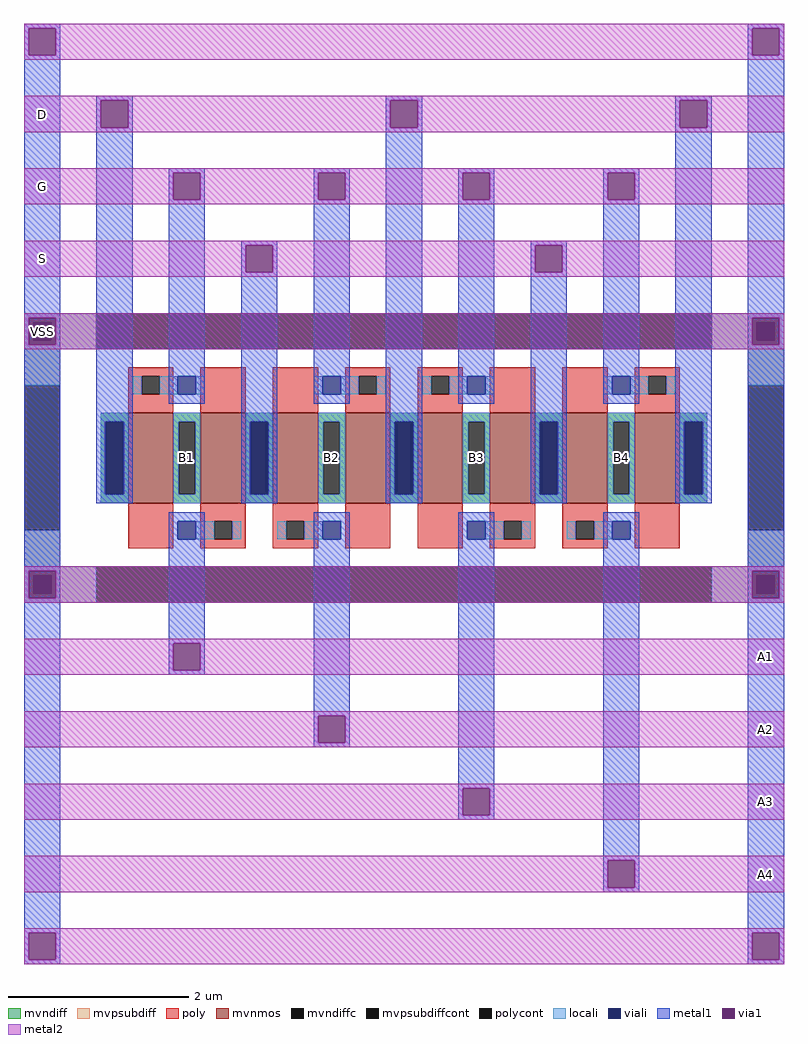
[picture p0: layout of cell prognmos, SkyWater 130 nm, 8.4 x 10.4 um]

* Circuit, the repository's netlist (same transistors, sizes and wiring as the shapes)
* NGSPICE file created from prognmos.ext - technology: sky130A

.subckt prognmos D G S VSS A1 A2 A3 A4
X0 S A1 B1 VSS sky130_fd_pr__nfet_g5v0d10v5 ad=1.5e+11p pd=1.3e+06u as=1.5e+11p ps=1.3e+06u w=1e+06u l=500000u
X1 B3 G D VSS sky130_fd_pr__nfet_g5v0d10v5 ad=1.5e+11p pd=1.3e+06u as=2.25e+11p ps=1.95e+06u w=1e+06u l=500000u
X2 B1 G D VSS sky130_fd_pr__nfet_g5v0d10v5 ad=1.5e+11p pd=1.3e+06u as=2.25e+11p ps=1.95e+06u w=1e+06u l=500000u
X3 B2 A2 S VSS sky130_fd_pr__nfet_g5v0d10v5 ad=1.5e+11p pd=1.3e+06u as=1.5e+11p ps=1.3e+06u w=1e+06u l=500000u
X4 D G B4 VSS sky130_fd_pr__nfet_g5v0d10v5 ad=2.25e+11p pd=1.95e+06u as=1.5e+11p ps=1.3e+06u w=1e+06u l=500000u
X5 S A3 B3 VSS sky130_fd_pr__nfet_g5v0d10v5 ad=1.5e+11p pd=1.3e+06u as=1.5e+11p ps=1.3e+06u w=1e+06u l=500000u
X6 D G B2 VSS sky130_fd_pr__nfet_g5v0d10v5 ad=2.25e+11p pd=1.95e+06u as=1.5e+11p ps=1.3e+06u w=1e+06u l=500000u
X7 B4 A4 S VSS sky130_fd_pr__nfet_g5v0d10v5 ad=1.5e+11p pd=1.3e+06u as=1.5e+11p ps=1.3e+06u w=1e+06u l=500000u
.ends

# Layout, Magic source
magic
tech sky130A
<< mvnmos >>
rect -5 -10 45 90
rect 75 -10 125 90
rect 155 -10 205 90
rect 235 -10 285 90
rect 315 -10 365 90
rect 395 -10 445 90
rect 475 -10 525 90
rect 555 -10 605 90
<< mvndiff >>
rect -35 80 -5 90
rect -35 0 -29 80
rect -11 0 -5 80
rect -35 -10 -5 0
rect 45 80 75 90
rect 45 0 51 80
rect 69 0 75 80
rect 45 -10 75 0
rect 125 80 155 90
rect 125 0 131 80
rect 149 0 155 80
rect 125 -10 155 0
rect 205 80 235 90
rect 205 0 211 80
rect 229 0 235 80
rect 205 -10 235 0
rect 285 80 315 90
rect 285 0 291 80
rect 309 0 315 80
rect 285 -10 315 0
rect 365 80 395 90
rect 365 0 371 80
rect 389 0 395 80
rect 365 -10 395 0
rect 445 80 475 90
rect 445 0 451 80
rect 469 0 475 80
rect 445 -10 475 0
rect 525 80 555 90
rect 525 0 531 80
rect 549 0 555 80
rect 525 -10 555 0
rect 605 80 635 90
rect 605 0 611 80
rect 629 0 635 80
rect 605 -10 635 0
<< mvndiffc >>
rect -29 0 -11 80
rect 51 0 69 80
rect 131 0 149 80
rect 211 0 229 80
rect 291 0 309 80
rect 371 0 389 80
rect 451 0 469 80
rect 531 0 549 80
rect 611 0 629 80
<< mvpsubdiff >>
rect -120 160 -40 200
rect 640 160 720 200
rect -120 120 -80 160
rect 680 120 720 160
rect -120 -80 -80 -40
rect 680 -80 720 -40
rect -120 -120 -40 -80
rect 640 -120 720 -80
<< mvpsubdiffcont >>
rect -40 160 640 200
rect -120 -40 -80 120
rect 680 -40 720 120
rect -40 -120 640 -80
<< poly >>
rect -5 130 45 140
rect -5 110 10 130
rect 30 110 45 130
rect -5 90 45 110
rect 75 90 125 140
rect 155 90 205 140
rect 235 130 285 140
rect 235 110 250 130
rect 270 110 285 130
rect 235 90 285 110
rect 315 130 365 140
rect 315 110 330 130
rect 350 110 365 130
rect 315 90 365 110
rect 395 90 445 140
rect 475 90 525 140
rect 555 130 605 140
rect 555 110 570 130
rect 590 110 605 130
rect 555 90 605 110
rect -5 -60 45 -10
rect 75 -30 125 -10
rect 75 -50 90 -30
rect 110 -50 125 -30
rect 75 -60 125 -50
rect 155 -30 205 -10
rect 155 -50 170 -30
rect 190 -50 205 -30
rect 155 -60 205 -50
rect 235 -60 285 -10
rect 315 -60 365 -10
rect 395 -30 445 -10
rect 395 -50 410 -30
rect 430 -50 445 -30
rect 395 -60 445 -50
rect 475 -30 525 -10
rect 475 -50 490 -30
rect 510 -50 525 -30
rect 475 -60 525 -50
rect 555 -60 605 -10
<< polycont >>
rect 10 110 30 130
rect 250 110 270 130
rect 330 110 350 130
rect 570 110 590 130
rect 90 -50 110 -30
rect 170 -50 190 -30
rect 410 -50 430 -30
rect 490 -50 510 -30
<< locali >>
rect -120 190 -40 200
rect -120 170 -110 190
rect -90 170 -40 190
rect -120 160 -40 170
rect 640 190 720 200
rect 640 170 690 190
rect 710 170 720 190
rect 640 160 720 170
rect -120 120 -80 160
rect 0 110 10 130
rect 30 110 50 130
rect 70 110 80 130
rect 200 110 210 130
rect 230 110 250 130
rect 270 110 280 130
rect 320 110 330 130
rect 350 110 370 130
rect 390 110 400 130
rect 520 110 530 130
rect 550 110 570 130
rect 590 110 600 130
rect 680 120 720 160
rect -35 80 -5 90
rect -35 0 -30 80
rect -10 0 -5 80
rect -35 -10 -5 0
rect 45 80 75 90
rect 45 0 51 80
rect 69 0 75 80
rect 45 -10 75 0
rect 125 80 155 90
rect 125 0 130 80
rect 150 0 155 80
rect 125 -10 155 0
rect 205 80 235 90
rect 205 0 211 80
rect 229 0 235 80
rect 205 -10 235 0
rect 285 80 315 90
rect 285 0 290 80
rect 310 0 315 80
rect 285 -10 315 0
rect 365 80 395 90
rect 365 0 371 80
rect 389 0 395 80
rect 365 -10 395 0
rect 445 80 475 90
rect 445 0 450 80
rect 470 0 475 80
rect 445 -10 475 0
rect 525 80 555 90
rect 525 0 531 80
rect 549 0 555 80
rect 525 -10 555 0
rect 605 80 635 90
rect 605 0 610 80
rect 630 0 635 80
rect 605 -10 635 0
rect -120 -80 -80 -40
rect 70 -50 90 -30
rect 110 -50 120 -30
rect 160 -50 170 -30
rect 190 -50 210 -30
rect 390 -50 410 -30
rect 430 -50 440 -30
rect 480 -50 490 -30
rect 510 -50 530 -30
rect 680 -80 720 -40
rect -120 -90 -40 -80
rect -120 -110 -110 -90
rect -90 -110 -40 -90
rect -120 -120 -40 -110
rect 640 -90 720 -80
rect 640 -110 690 -90
rect 710 -110 720 -90
rect 640 -120 720 -110
<< viali >>
rect -110 170 -90 190
rect 690 170 710 190
rect 50 110 70 130
rect 210 110 230 130
rect 370 110 390 130
rect 530 110 550 130
rect -30 0 -29 80
rect -29 0 -11 80
rect -11 0 -10 80
rect 130 0 131 80
rect 131 0 149 80
rect 149 0 150 80
rect 290 0 291 80
rect 291 0 309 80
rect 309 0 310 80
rect 450 0 451 80
rect 451 0 469 80
rect 469 0 470 80
rect 610 0 611 80
rect 611 0 629 80
rect 629 0 630 80
rect 50 -50 70 -30
rect 210 -50 230 -30
rect 370 -50 390 -30
rect 530 -50 550 -30
rect -110 -110 -90 -90
rect 690 -110 710 -90
<< metal1 >>
rect -120 515 -80 520
rect -120 485 -115 515
rect -85 485 -80 515
rect -120 195 -80 485
rect 680 515 720 520
rect 680 485 685 515
rect 715 485 720 515
rect -120 165 -115 195
rect -85 165 -80 195
rect -120 -85 -80 165
rect -40 435 0 440
rect -40 405 -35 435
rect -5 405 0 435
rect -40 80 0 405
rect 280 435 320 440
rect 280 405 285 435
rect 315 405 320 435
rect 40 355 80 360
rect 40 325 45 355
rect 75 325 80 355
rect 40 130 80 325
rect 200 355 240 360
rect 200 325 205 355
rect 235 325 240 355
rect 40 110 50 130
rect 70 110 80 130
rect 40 100 80 110
rect 120 275 160 280
rect 120 245 125 275
rect 155 245 160 275
rect -40 0 -30 80
rect -10 0 0 80
rect -40 -10 0 0
rect 120 80 160 245
rect 200 130 240 325
rect 200 110 210 130
rect 230 110 240 130
rect 200 100 240 110
rect 120 0 130 80
rect 150 0 160 80
rect 120 -10 160 0
rect 280 80 320 405
rect 600 435 640 440
rect 600 405 605 435
rect 635 405 640 435
rect 360 355 400 360
rect 360 325 365 355
rect 395 325 400 355
rect 360 130 400 325
rect 520 355 560 360
rect 520 325 525 355
rect 555 325 560 355
rect 360 110 370 130
rect 390 110 400 130
rect 360 100 400 110
rect 440 275 480 280
rect 440 245 445 275
rect 475 245 480 275
rect 280 0 290 80
rect 310 0 320 80
rect 280 -10 320 0
rect 440 80 480 245
rect 520 130 560 325
rect 520 110 530 130
rect 550 110 560 130
rect 520 100 560 110
rect 440 0 450 80
rect 470 0 480 80
rect 440 -10 480 0
rect 600 80 640 405
rect 600 0 610 80
rect 630 0 640 80
rect 600 -10 640 0
rect 680 195 720 485
rect 680 165 685 195
rect 715 165 720 195
rect -120 -115 -115 -85
rect -85 -115 -80 -85
rect -120 -485 -80 -115
rect 40 -30 80 -20
rect 40 -50 50 -30
rect 70 -50 80 -30
rect 40 -165 80 -50
rect 40 -195 45 -165
rect 75 -195 80 -165
rect 40 -200 80 -195
rect 200 -30 240 -20
rect 200 -50 210 -30
rect 230 -50 240 -30
rect 200 -245 240 -50
rect 200 -275 205 -245
rect 235 -275 240 -245
rect 200 -280 240 -275
rect 360 -30 400 -20
rect 360 -50 370 -30
rect 390 -50 400 -30
rect 360 -325 400 -50
rect 360 -355 365 -325
rect 395 -355 400 -325
rect 360 -360 400 -355
rect 520 -30 560 -20
rect 520 -50 530 -30
rect 550 -50 560 -30
rect 520 -405 560 -50
rect 520 -435 525 -405
rect 555 -435 560 -405
rect 520 -440 560 -435
rect 680 -85 720 165
rect 680 -115 685 -85
rect 715 -115 720 -85
rect -120 -515 -115 -485
rect -85 -515 -80 -485
rect -120 -520 -80 -515
rect 680 -485 720 -115
rect 680 -515 685 -485
rect 715 -515 720 -485
rect 680 -520 720 -515
<< via1 >>
rect -115 485 -85 515
rect 685 485 715 515
rect -115 190 -85 195
rect -115 170 -110 190
rect -110 170 -90 190
rect -90 170 -85 190
rect -115 165 -85 170
rect -35 405 -5 435
rect 285 405 315 435
rect 45 325 75 355
rect 205 325 235 355
rect 125 245 155 275
rect 605 405 635 435
rect 365 325 395 355
rect 525 325 555 355
rect 445 245 475 275
rect 685 190 715 195
rect 685 170 690 190
rect 690 170 710 190
rect 710 170 715 190
rect 685 165 715 170
rect -115 -90 -85 -85
rect -115 -110 -110 -90
rect -110 -110 -90 -90
rect -90 -110 -85 -90
rect -115 -115 -85 -110
rect 45 -195 75 -165
rect 205 -275 235 -245
rect 365 -355 395 -325
rect 525 -435 555 -405
rect 685 -90 715 -85
rect 685 -110 690 -90
rect 690 -110 710 -90
rect 710 -110 715 -90
rect 685 -115 715 -110
rect -115 -515 -85 -485
rect 685 -515 715 -485
<< metal2 >>
rect -120 515 720 520
rect -120 485 -115 515
rect -85 485 685 515
rect 715 485 720 515
rect -120 480 720 485
rect -120 435 720 440
rect -120 405 -35 435
rect -5 405 285 435
rect 315 405 605 435
rect 635 405 720 435
rect -120 400 720 405
rect -120 355 720 360
rect -120 325 45 355
rect 75 325 205 355
rect 235 325 365 355
rect 395 325 525 355
rect 555 325 720 355
rect -120 320 720 325
rect -120 275 720 280
rect -120 245 125 275
rect 155 245 445 275
rect 475 245 720 275
rect -120 240 720 245
rect -120 195 720 200
rect -120 165 -115 195
rect -85 165 685 195
rect 715 165 720 195
rect -120 160 720 165
rect -120 -85 720 -80
rect -120 -115 -115 -85
rect -85 -115 685 -85
rect 715 -115 720 -85
rect -120 -120 720 -115
rect -120 -165 720 -160
rect -120 -195 45 -165
rect 75 -195 720 -165
rect -120 -200 720 -195
rect -120 -245 720 -240
rect -120 -275 205 -245
rect 235 -275 720 -245
rect -120 -280 720 -275
rect -120 -325 720 -320
rect -120 -355 365 -325
rect 395 -355 720 -325
rect -120 -360 720 -355
rect -120 -405 720 -400
rect -120 -435 525 -405
rect 555 -435 720 -405
rect -120 -440 720 -435
rect -120 -485 720 -480
rect -120 -515 -115 -485
rect -85 -515 685 -485
rect 715 -515 720 -485
rect -120 -520 720 -515
<< labels >>
rlabel metal2 -120 400 -80 440 0 D
port 1 nsew
rlabel metal2 -120 320 -80 360 0 G
port 2 nsew
rlabel metal2 -120 240 -80 280 0 S
port 3 nsew
rlabel metal2 -120 160 -80 200 0 VSS
port 4 nsew
rlabel metal2 680 -200 720 -160 0 A1
port 5 nsew
rlabel metal2 680 -280 720 -240 0 A2
port 6 nsew
rlabel metal2 680 -360 720 -320 0 A3
port 7 nsew
rlabel metal2 680 -440 720 -400 0 A4
port 8 nsew
rlabel locali 50 30 70 50 0 B1
rlabel locali 210 30 230 50 0 B2
rlabel locali 370 30 390 50 0 B3
rlabel locali 530 30 550 50 0 B4
<< end >>
